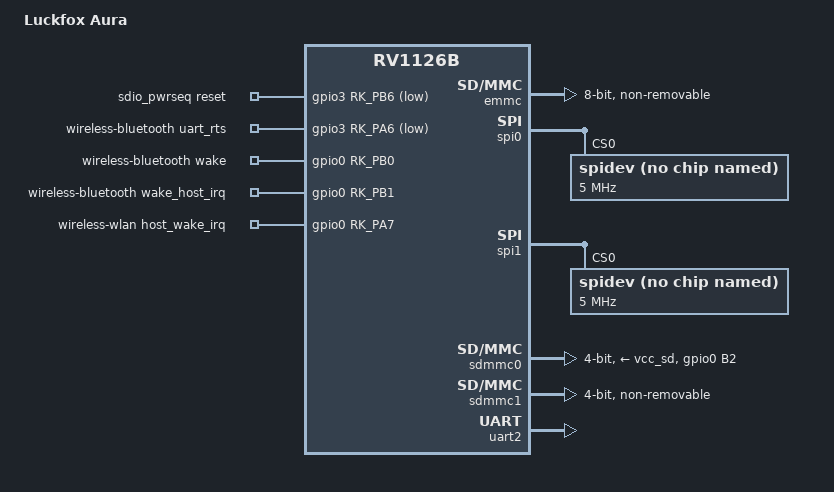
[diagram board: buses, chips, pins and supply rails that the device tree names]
// SPDX-License-Identifier: (GPL-2.0+ OR MIT)
/*
 * Copyright (c) 2025 Rockchip Electronics Co., Ltd.
 */

/dts-v1/;
#include "rv1126b.dtsi"
#include "rv1126b-aoa.dtsi"
#include "rv1126b-luckfox-aura.dtsi"
#include "rv1126b-luckfox-aura-dsi.dtsi"
#include "rv1126b-luckfox-aura-cam-csi0.dtsi"
//#include "rv1126b-luckfox-aura-cam-csi1.dtsi"
//#include "rv1126b-luckfox-aura-dual-cam.dtsi"

/ {
	model = "Luckfox Aura";
	compatible = "rockchip,rv1126b-evb1-v11", "rockchip,rv1126b";

	chosen {
		bootargs = "earlycon=uart8250,mmio32,0x20810000 console=ttyFIQ0 rw root=PARTUUID=614e0000-0000 rootfstype=ext4 rootwait snd_soc_core.prealloc_buffer_size_kbytes=16 coherent_pool=32K";
	};

	sdio_pwrseq: sdio-pwrseq {
		compatible = "mmc-pwrseq-simple";
		pinctrl-names = "default";
		pinctrl-0 = <&wifi_enable_h &pcm_out>;
		post-power-on-delay-ms = <200>;
		reset-gpios = <&gpio3 RK_PB6 GPIO_ACTIVE_LOW>;
	};

	wireless-bluetooth {
		compatible = "bluetooth-platdata";
		uart_rts_gpios = <&gpio3 RK_PA6 GPIO_ACTIVE_LOW>;
		pinctrl-names = "default", "rts_gpio";
		pinctrl-0 = <&uart2m0_rtsn_pins &bt_poweren_gpio>;
		pinctrl-1 = <&uart2_gpios &bt_poweren_gpio>;
		BT,wake_gpio     = <&gpio0 RK_PB0 GPIO_ACTIVE_HIGH>;
		BT,wake_host_irq = <&gpio0 RK_PB1 GPIO_ACTIVE_HIGH>;
		//BT,power_gpio     = <&gpio3 RK_PB7 GPIO_ACTIVE_HIGH>;
		status = "okay";
	};

	wireless-wlan {
		compatible = "wlan-platdata";
		rockchip,grf = <&grf>;
		pinctrl-names = "default";
		pinctrl-0 = <&wifi_wake_host>;
		WIFI,host_wake_irq = <&gpio0 RK_PA7 GPIO_ACTIVE_HIGH>;
		status = "okay";
	};
};

/**********MEDIA**********/
&emmc {
	bus-width = <8>;
	cap-mmc-highspeed;
	non-removable;
	//mmc-hs200-1_8v;
	rockchip,default-sample-phase = <90>;
	no-sdio;
	no-sd;
	status = "okay";
};

&fspi0 {
	status = "disabled";

	flash@0 {
		status = "disabled";
		compatible = "spi-nand";
		reg = <0>;
		spi-max-frequency = <75000000>;
		spi-rx-bus-width = <4>;
		spi-tx-bus-width = <1>;
	};
};

&spi0 {
	status = "okay";
	max-freq = <50000000>;

	spidev@0 {
		compatible = "rockchip,spidev";
		reg = <0>;
		spi-max-frequency = <5000000>;
	};
};

&spi1 {
	status = "okay";
	max-freq = <50000000>;

	spidev@0 {
		compatible = "rockchip,spidev";
		reg = <0>;
		spi-max-frequency = <5000000>;
	};
};

/**********SDMMC**********/
&sdmmc0 {
	max-frequency = <52000000>;
	no-sdio;
	no-mmc;
	bus-width = <4>;
	cap-mmc-highspeed;
	cap-sd-highspeed;
	disable-wp;
	vmmc-supply = <&vcc_sd>;
	vqmmc-supply = <&vccio_sd>;
	pinctrl-names = "default";

	pinctrl-0 = <&sdmmc0_clk_pins &sdmmc0_cmd_pins &sdmmc0_detn_pins &sdmmc0_bus4_pins &sdmmc0_pwren>;
	status = "okay";
};

&pinctrl {
	sdmmc0 {
		sdmmc0_pwren: sdmmc0-pwren {
			rockchip,pins = <0 RK_PB2 RK_FUNC_GPIO &pcfg_pull_down>;
		};
	};
};

/**********WiFi / BT**********/
&sdmmc1 {
	bus-width = <4>;

	cap-sd-highspeed;
	supports-highspeed;
	cap-sdio-irq;

	no-sd;
	no-mmc;
	max-frequency = <150000000>;
	pinctrl-names = "default";
	pinctrl-0 = <&sdmmc1_clk_pins &sdmmc1_cmd_pins &sdmmc1_bus4_pins>;
	disable-wp;

	keep-power-in-suspend;
	non-removable;

	mmc-pwrseq = <&sdio_pwrseq>;
	sd-uhs-sdr104;
	status = "okay";
};

&uart2 {
	status = "okay";
	pinctrl-names = "default";
	pinctrl-0 = <&uart2m0_xfer_pins &uart2m0_ctsn_pins>;
};

/**********PINCTRL**********/
&pinctrl {
	sdio-pwrseq {
		wifi_enable_h: wifi-enable-h {
			rockchip,pins = <3 RK_PB6 RK_FUNC_GPIO &pcfg_pull_up>;
		};

		pcm_out: pcm-out {
			rockchip,pins = <3 RK_PB3 RK_FUNC_GPIO &pcfg_pull_up>;
		};
	};

	wireless-bluetooth {
		uart2_gpios: uart2-gpios {
			rockchip,pins = <3 RK_PA6 RK_FUNC_GPIO &pcfg_pull_none>;
		};

		bt_poweren_gpio: bt-poweren-gpio {
			rockchip,pins = <3 RK_PB7 RK_FUNC_GPIO &pcfg_pull_up>;
		};
	};

	wireless-wlan {
		wifi_wake_host: wifi-wake-host {
			rockchip,pins = <0 RK_PA7 RK_FUNC_GPIO &pcfg_pull_up>;
		};
	};
};
